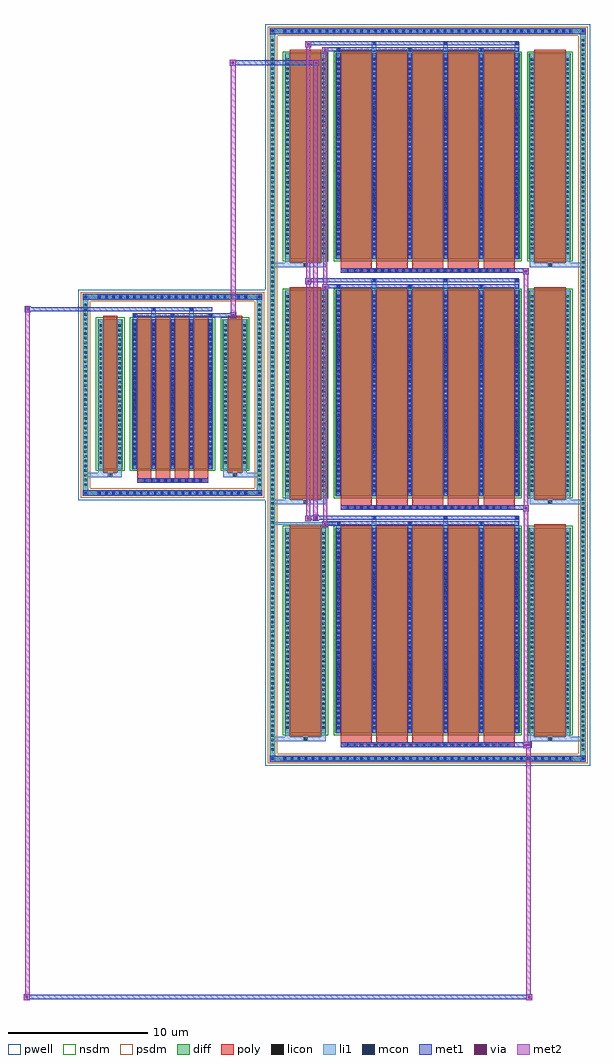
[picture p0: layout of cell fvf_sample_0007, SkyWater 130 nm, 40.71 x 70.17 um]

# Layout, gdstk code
import gdstk
lib = gdstk.Library(unit=1e-6, precision=1e-09)
def R(c, l, rs):  # rectangles x0, y0, x1, y1
    for r in rs: c.add(gdstk.rectangle(r[:2], r[2:], *l))
def A(c, l, x, y, w, h, nx, ny, dx, dy):  # array of equal rectangles
    R(c, l, [(x+i*dx, y+j*dy, x+i*dx+w, y+j*dy+h) for i in range(nx) for j in range(ny)])
def P(c, l, *ps):  # polygons
    for p in ps: c.add(gdstk.Polygon(p, *l))
pwell = (64, 44)
diff = (65, 20)
poly = (66, 20)
licon = (66, 44)
li1 = (67, 20)
mcon = (67, 44)
met1 = (68, 20)
via = (68, 44)
met2 = (69, 20)
nsdm = (93, 44)
psdm = (94, 20)

fvf_sample_0007 = lib.new_cell('fvf_sample_0007')
R(fvf_sample_0007, pwell, [(6.669,-26.668,30.021,26.668), (-6.769,-7.567,6.769,7.567)])
A(fvf_sample_0007, diff, 7.89, -26.358, 0.41, 0.41, 42, 2, 0.5, 52.306)
A(fvf_sample_0007, diff, 6.979, -25.705, 0.41, 0.41, 1, 151, 0, 0.34)
A(fvf_sample_0007, diff, 29.301, -25.705, 0.41, 0.41, 1, 151, 0, 0.34)
A(fvf_sample_0007, diff, 8.049, -24.337, 3.016, 14.8, 1, 3, 0, 17.045)
A(fvf_sample_0007, diff, 11.705, -24.337, 13.28, 14.8, 1, 3, 0, 17.045)
A(fvf_sample_0007, diff, 25.625, -24.337, 3.016, 14.8, 1, 3, 0, 17.045)
A(fvf_sample_0007, diff, -5.455, -7.257, 0.41, 0.41, 22, 2, 0.5, 14.104)
A(fvf_sample_0007, diff, -6.459, -6.665, 0.41, 0.41, 1, 39, 0, 0.34)
A(fvf_sample_0007, diff, 6.049, -6.665, 0.41, 0.41, 1, 39, 0, 0.34)
R(fvf_sample_0007, diff, [(7.89,-26.358,28.8,-25.948), (6.979,-25.705,7.389,25.705), (29.301,-25.705,29.711,25.705), (-5.455,-7.257,5.455,-6.847), (-6.459,-6.665,-6.049,6.665), (6.049,-6.665,6.459,6.665), (-5.389,-5.336,-3.581,5.452), (-2.941,-5.336,2.941,5.452), (3.581,-5.336,5.389,5.452), (-5.455,6.847,5.455,7.257), (7.89,25.948,28.8,26.358)])
P(fvf_sample_0007, diff, [(6.459,7.257),(-6.459,7.257),(-6.459,-6.847),(-6.049,-6.847),(-6.049,6.847),(6.049,6.847),(6.049,-6.847),(-6.049,-6.847),(-6.459,-6.847),(-6.459,-7.257),(6.459,-7.257)],
  [(29.711,26.358),(6.979,26.358),(6.979,-25.948),(7.389,-25.948),(7.389,25.948),(29.301,25.948),(29.301,-25.948),(7.389,-25.948),(6.979,-25.948),(6.979,-26.358),(29.711,-26.358)])
A(fvf_sample_0007, poly, 12.095, -25.317, 12.5, 0.33, 1, 3, 0, 17.045)
A(fvf_sample_0007, poly, 12.43, -25.317, 0.33, 0.33, 24, 3, 0.5, 17.045)
A(fvf_sample_0007, poly, 12.095, -24.987, 2.236, 0.4, 5, 3, 2.566, 17.045)
A(fvf_sample_0007, poly, 8.439, -24.587, 2.236, 15.3, 1, 3, 0, 17.045)
A(fvf_sample_0007, poly, 12.095, -24.587, 2.236, 15.3, 5, 3, 2.566, 17.045)
A(fvf_sample_0007, poly, 26.015, -24.587, 2.236, 15.3, 1, 3, 0, 17.045)
A(fvf_sample_0007, poly, -2.165, -6.318, 0.33, 0.33, 9, 1, 0.5, 0)
A(fvf_sample_0007, poly, -2.551, -5.988, 1.028, 0.402, 4, 1, 1.358, 0)
A(fvf_sample_0007, poly, -2.551, -5.586, 1.028, 11.288, 4, 1, 1.358, 0)
R(fvf_sample_0007, poly, [(9.392,-24.917,9.722,-24.587), (9.392,-24.917,9.722,-24.587), (26.968,-24.917,27.298,-24.587), (26.968,-24.917,27.298,-24.587), (9.392,-7.872,9.722,-7.542), (9.392,-7.872,9.722,-7.542), (26.968,-7.872,27.298,-7.542), (26.968,-7.872,27.298,-7.542), (-2.551,-6.318,2.551,-5.988), (-4.65,-5.916,-4.32,-5.586), (-4.65,-5.916,-4.32,-5.586), (4.32,-5.916,4.65,-5.586), (4.32,-5.916,4.65,-5.586), (-4.999,-5.586,-3.971,5.702), (3.971,-5.586,4.999,5.702), (9.392,9.173,9.722,9.503), (9.392,9.173,9.722,9.503), (26.968,9.173,27.298,9.503), (26.968,9.173,27.298,9.503)])
A(fvf_sample_0007, licon, 8.01, -26.238, 0.17, 0.17, 42, 2, 0.5, 52.306)
A(fvf_sample_0007, licon, 7.099, -25.585, 0.17, 0.17, 1, 151, 0, 0.34)
A(fvf_sample_0007, licon, 29.421, -25.585, 0.17, 0.17, 1, 151, 0, 0.34)
A(fvf_sample_0007, licon, 12.51, -25.237, 0.17, 0.17, 24, 3, 0.5, 17.045)
A(fvf_sample_0007, licon, 9.472, -24.837, 0.17, 0.17, 1, 3, 0, 17.045)
A(fvf_sample_0007, licon, 27.048, -24.837, 0.17, 0.17, 1, 3, 0, 17.045)
A(fvf_sample_0007, licon, 8.189, -23.992, 0.17, 0.17, 1, 42, 0, 0.34)
A(fvf_sample_0007, licon, 10.755, -23.992, 0.17, 0.17, 1, 42, 0, 0.34)
A(fvf_sample_0007, licon, 11.845, -23.992, 0.17, 0.17, 6, 42, 2.566, 0.34)
A(fvf_sample_0007, licon, 25.765, -23.992, 0.17, 0.17, 1, 42, 0, 0.34)
A(fvf_sample_0007, licon, 28.331, -23.992, 0.17, 0.17, 1, 42, 0, 0.34)
A(fvf_sample_0007, licon, -5.335, -7.137, 0.17, 0.17, 22, 2, 0.5, 14.104)
A(fvf_sample_0007, licon, 8.189, -6.947, 0.17, 0.17, 1, 42, 0, 0.34)
A(fvf_sample_0007, licon, 10.755, -6.947, 0.17, 0.17, 1, 42, 0, 0.34)
A(fvf_sample_0007, licon, 11.845, -6.947, 0.17, 0.17, 6, 42, 2.566, 0.34)
A(fvf_sample_0007, licon, 25.765, -6.947, 0.17, 0.17, 1, 42, 0, 0.34)
A(fvf_sample_0007, licon, 28.331, -6.947, 0.17, 0.17, 1, 42, 0, 0.34)
A(fvf_sample_0007, licon, -6.339, -6.545, 0.17, 0.17, 1, 39, 0, 0.34)
A(fvf_sample_0007, licon, 6.169, -6.545, 0.17, 0.17, 1, 39, 0, 0.34)
A(fvf_sample_0007, licon, -2.085, -6.238, 0.17, 0.17, 9, 1, 0.5, 0)
A(fvf_sample_0007, licon, -5.249, -4.957, 0.17, 0.17, 1, 30, 0, 0.34)
A(fvf_sample_0007, licon, -3.891, -4.957, 0.17, 0.17, 1, 30, 0, 0.34)
A(fvf_sample_0007, licon, -2.801, -4.957, 0.17, 0.17, 5, 30, 1.358, 0.34)
A(fvf_sample_0007, licon, 3.721, -4.957, 0.17, 0.17, 1, 30, 0, 0.34)
A(fvf_sample_0007, licon, 5.079, -4.957, 0.17, 0.17, 1, 30, 0, 0.34)
A(fvf_sample_0007, licon, 8.189, 10.098, 0.17, 0.17, 1, 42, 0, 0.34)
A(fvf_sample_0007, licon, 10.755, 10.098, 0.17, 0.17, 1, 42, 0, 0.34)
A(fvf_sample_0007, licon, 11.845, 10.098, 0.17, 0.17, 6, 42, 2.566, 0.34)
A(fvf_sample_0007, licon, 25.765, 10.098, 0.17, 0.17, 1, 42, 0, 0.34)
A(fvf_sample_0007, licon, 28.331, 10.098, 0.17, 0.17, 1, 42, 0, 0.34)
R(fvf_sample_0007, licon, [(-4.57,-5.836,-4.4,-5.666), (4.4,-5.836,4.57,-5.666)])
A(fvf_sample_0007, li1, 7.93, -26.318, 0.33, 0.33, 42, 2, 0.5, 52.306)
A(fvf_sample_0007, li1, 7.019, -25.665, 0.33, 0.33, 1, 151, 0, 0.34)
A(fvf_sample_0007, li1, 29.341, -25.665, 0.33, 0.33, 1, 151, 0, 0.34)
A(fvf_sample_0007, li1, 12.43, -25.317, 0.33, 0.33, 24, 3, 0.5, 17.045)
A(fvf_sample_0007, li1, 6.979, -24.917, 2.413, 0.33, 1, 3, 0, 17.045)
A(fvf_sample_0007, li1, 8.109, -24.917, 0.33, 0.58, 1, 3, 0, 17.045)
A(fvf_sample_0007, li1, 8.109, -24.917, 1.283, 0.33, 1, 3, 0, 17.045)
A(fvf_sample_0007, li1, 9.392, -24.917, 0.33, 0.33, 1, 3, 0, 17.045)
A(fvf_sample_0007, li1, 9.722, -24.917, 1.283, 0.33, 1, 3, 0, 17.045)
A(fvf_sample_0007, li1, 10.675, -24.917, 0.33, 0.58, 1, 3, 0, 17.045)
A(fvf_sample_0007, li1, 25.685, -24.917, 0.33, 0.58, 1, 3, 0, 17.045)
A(fvf_sample_0007, li1, 25.685, -24.917, 1.283, 0.33, 1, 3, 0, 17.045)
A(fvf_sample_0007, li1, 26.968, -24.917, 0.33, 0.33, 1, 3, 0, 17.045)
A(fvf_sample_0007, li1, 26.968, -24.917, 2.743, 0.33, 1, 3, 0, 17.045)
A(fvf_sample_0007, li1, 27.298, -24.917, 1.283, 0.33, 1, 3, 0, 17.045)
A(fvf_sample_0007, li1, 28.251, -24.917, 0.33, 0.58, 1, 3, 0, 17.045)
A(fvf_sample_0007, li1, 8.109, -24.337, 0.33, 14.8, 1, 3, 0, 17.045)
A(fvf_sample_0007, li1, 10.675, -24.337, 0.33, 14.8, 1, 3, 0, 17.045)
A(fvf_sample_0007, li1, 11.765, -24.337, 0.33, 14.8, 6, 3, 2.566, 17.045)
A(fvf_sample_0007, li1, 25.685, -24.337, 0.33, 14.8, 1, 3, 0, 17.045)
A(fvf_sample_0007, li1, 28.251, -24.337, 0.33, 14.8, 1, 3, 0, 17.045)
A(fvf_sample_0007, li1, 8.109, -24.072, 0.33, 0.33, 1, 42, 0, 0.34)
A(fvf_sample_0007, li1, 10.675, -24.072, 0.33, 0.33, 1, 42, 0, 0.34)
A(fvf_sample_0007, li1, 11.765, -24.072, 0.33, 0.33, 6, 42, 2.566, 0.34)
A(fvf_sample_0007, li1, 25.685, -24.072, 0.33, 0.33, 1, 42, 0, 0.34)
A(fvf_sample_0007, li1, 28.251, -24.072, 0.33, 0.33, 1, 42, 0, 0.34)
A(fvf_sample_0007, li1, 11.845, -24.042, 0.17, 0.17, 6, 40, 2.566, 0.36)
A(fvf_sample_0007, li1, 11.845, -24.042, 0.17, 14.21, 6, 3, 2.566, 17.045)
A(fvf_sample_0007, li1, 11.765, -9.537, 0.33, 0.375, 3, 3, 5.132, 17.045)
A(fvf_sample_0007, li1, 14.331, -9.537, 0.33, 0.805, 3, 3, 5.132, 17.045)
A(fvf_sample_0007, li1, 11.845, -9.332, 0.17, 0.17, 3, 3, 5.132, 17.045)
A(fvf_sample_0007, li1, 14.411, -8.902, 0.17, 0.17, 3, 3, 5.132, 17.045)
A(fvf_sample_0007, li1, -5.415, -7.217, 0.33, 0.33, 22, 2, 0.5, 14.104)
A(fvf_sample_0007, li1, 8.109, -7.027, 0.33, 0.33, 1, 42, 0, 0.34)
A(fvf_sample_0007, li1, 10.675, -7.027, 0.33, 0.33, 1, 42, 0, 0.34)
A(fvf_sample_0007, li1, 11.765, -7.027, 0.33, 0.33, 6, 42, 2.566, 0.34)
A(fvf_sample_0007, li1, 25.685, -7.027, 0.33, 0.33, 1, 42, 0, 0.34)
A(fvf_sample_0007, li1, 28.251, -7.027, 0.33, 0.33, 1, 42, 0, 0.34)
A(fvf_sample_0007, li1, 11.845, -6.997, 0.17, 0.17, 6, 40, 2.566, 0.36)
A(fvf_sample_0007, li1, -6.419, -6.625, 0.33, 0.33, 1, 39, 0, 0.34)
A(fvf_sample_0007, li1, 6.089, -6.625, 0.33, 0.33, 1, 39, 0, 0.34)
A(fvf_sample_0007, li1, -2.165, -6.318, 0.33, 0.33, 9, 1, 0.5, 0)
A(fvf_sample_0007, li1, -2.881, -5.336, 0.33, 10.788, 5, 1, 1.358, 0)
A(fvf_sample_0007, li1, -2.801, -5.067, 0.17, 0.17, 5, 29, 1.358, 0.36)
A(fvf_sample_0007, li1, -2.801, -5.067, 0.17, 10.25, 5, 1, 1.358, 0)
A(fvf_sample_0007, li1, -5.329, -5.037, 0.33, 0.33, 1, 30, 0, 0.34)
A(fvf_sample_0007, li1, -3.971, -5.037, 0.33, 0.33, 1, 30, 0, 0.34)
A(fvf_sample_0007, li1, -2.881, -5.037, 0.33, 0.33, 5, 30, 1.358, 0.34)
A(fvf_sample_0007, li1, 3.641, -5.037, 0.33, 0.33, 1, 30, 0, 0.34)
A(fvf_sample_0007, li1, 4.999, -5.037, 0.33, 0.33, 1, 30, 0, 0.34)
A(fvf_sample_0007, li1, -2.881, 5.452, 0.33, 0.375, 3, 1, 2.716, 0)
A(fvf_sample_0007, li1, -2.801, 5.657, 0.17, 0.17, 3, 1, 2.716, 0)
A(fvf_sample_0007, li1, 8.109, 10.018, 0.33, 0.33, 1, 42, 0, 0.34)
A(fvf_sample_0007, li1, 10.675, 10.018, 0.33, 0.33, 1, 42, 0, 0.34)
A(fvf_sample_0007, li1, 11.765, 10.018, 0.33, 0.33, 6, 42, 2.566, 0.34)
A(fvf_sample_0007, li1, 25.685, 10.018, 0.33, 0.33, 1, 42, 0, 0.34)
A(fvf_sample_0007, li1, 28.251, 10.018, 0.33, 0.33, 1, 42, 0, 0.34)
A(fvf_sample_0007, li1, 11.845, 10.048, 0.17, 0.17, 6, 40, 2.566, 0.36)
R(fvf_sample_0007, li1, [(6.979,-26.358,7.389,-25.948), (29.301,-26.358,29.711,-25.948), (7.93,-26.318,28.76,-25.988), (7.099,-26.238,7.269,-26.068), (7.099,-26.238,7.269,-26.068), (29.421,-26.238,29.591,-26.068), (29.421,-26.238,29.591,-26.068), (6.979,-25.948,7.389,25.948), (29.301,-25.948,29.711,25.948), (11.785,-9.392,12.075,-9.102), (6.979,-9.347,11.785,-9.147), (11.845,-9.332,12.015,-9.162), (-6.459,-7.257,-6.049,-6.847), (6.049,-7.257,6.459,-6.847), (-5.415,-7.217,5.415,-6.887), (-6.339,-7.137,-6.169,-6.967), (-6.339,-7.137,-6.169,-6.967), (6.169,-7.137,6.339,-6.967), (6.169,-7.137,6.339,-6.967), (-6.459,-6.847,-6.049,6.847), (6.049,-6.847,6.459,6.847), (-6.459,-5.916,-4.65,-5.586), (-5.329,-5.916,-4.65,-5.586), (-5.329,-5.916,-4.999,-5.336), (-4.65,-5.916,-4.32,-5.586), (-4.32,-5.916,-3.641,-5.586), (-3.971,-5.916,-3.641,-5.336), (3.641,-5.916,4.32,-5.586), (3.641,-5.916,3.971,-5.336), (4.32,-5.916,4.65,-5.586), (4.32,-5.916,6.459,-5.586), (4.65,-5.916,5.329,-5.586), (4.999,-5.916,5.329,-5.336), (-5.329,-5.336,-4.999,5.452), (-3.971,-5.336,-3.641,5.452), (3.641,-5.336,3.971,5.452), (4.999,-5.336,5.329,5.452), (-1.523,5.452,-1.193,6.257), (1.193,5.452,1.523,6.257), (-1.443,6.087,-1.273,6.257), (1.273,6.087,1.443,6.257), (-6.459,6.847,-6.049,7.257), (6.049,6.847,6.459,7.257), (-5.415,6.887,5.415,7.217), (-6.339,6.967,-6.169,7.137), (-6.339,6.967,-6.169,7.137), (6.169,6.967,6.339,7.137), (6.169,6.967,6.339,7.137), (6.979,25.948,7.389,26.358), (29.301,25.948,29.711,26.358), (7.93,25.988,28.76,26.318), (7.099,26.068,7.269,26.238), (7.099,26.068,7.269,26.238), (29.421,26.068,29.591,26.238), (29.421,26.068,29.591,26.238)])
A(fvf_sample_0007, mcon, 8.01, -26.238, 0.17, 0.17, 42, 2, 0.5, 52.306)
A(fvf_sample_0007, mcon, 12.51, -25.237, 0.17, 0.17, 24, 3, 0.5, 17.045)
A(fvf_sample_0007, mcon, 11.845, -24.042, 0.17, 0.17, 6, 40, 2.566, 0.36)
A(fvf_sample_0007, mcon, 11.845, -9.332, 0.17, 0.17, 3, 3, 5.132, 17.045)
A(fvf_sample_0007, mcon, 14.411, -8.902, 0.17, 0.17, 3, 3, 5.132, 17.045)
A(fvf_sample_0007, mcon, -5.335, -7.137, 0.17, 0.17, 22, 2, 0.5, 14.104)
A(fvf_sample_0007, mcon, 11.845, -6.997, 0.17, 0.17, 6, 40, 2.566, 0.36)
A(fvf_sample_0007, mcon, -2.085, -6.238, 0.17, 0.17, 9, 1, 0.5, 0)
A(fvf_sample_0007, mcon, -2.801, -5.067, 0.17, 0.17, 5, 29, 1.358, 0.36)
A(fvf_sample_0007, mcon, -2.801, 5.657, 0.17, 0.17, 3, 1, 2.716, 0)
A(fvf_sample_0007, mcon, 11.845, 10.048, 0.17, 0.17, 6, 40, 2.566, 0.36)
R(fvf_sample_0007, mcon, [(7.099,-26.238,7.269,-26.068), (29.421,-26.238,29.591,-26.068), (11.845,-9.332,12.015,-9.162), (-6.339,-7.137,-6.169,-6.967), (6.169,-7.137,6.339,-6.967), (-1.443,6.087,-1.273,6.257), (1.273,6.087,1.443,6.257), (-6.339,6.967,-6.169,7.137), (6.169,6.967,6.339,7.137), (7.099,26.068,7.269,26.238), (29.421,26.068,29.591,26.238)])
A(fvf_sample_0007, met1, 7.95, -26.298, 0.29, 0.29, 42, 2, 0.5, 52.306)
A(fvf_sample_0007, met1, 12.095, -25.317, 12.5, 0.33, 1, 3, 0, 17.045)
A(fvf_sample_0007, met1, 12.45, -25.297, 0.29, 0.29, 24, 3, 0.5, 17.045)
A(fvf_sample_0007, met1, 11.785, -24.337, 0.29, 14.8, 6, 3, 2.566, 17.045)
A(fvf_sample_0007, met1, 11.785, -24.102, 0.29, 0.29, 6, 40, 2.566, 0.36)
A(fvf_sample_0007, met1, 11.785, -9.392, 0.29, 0.29, 3, 3, 5.132, 17.045)
A(fvf_sample_0007, met1, 14.351, -8.962, 0.29, 0.29, 3, 3, 5.132, 17.045)
A(fvf_sample_0007, met1, -5.395, -7.197, 0.29, 0.29, 22, 2, 0.5, 14.104)
A(fvf_sample_0007, met1, 11.785, -7.057, 0.29, 0.29, 6, 40, 2.566, 0.36)
A(fvf_sample_0007, met1, -2.145, -6.298, 0.29, 0.29, 9, 1, 0.5, 0)
A(fvf_sample_0007, met1, -2.861, -5.336, 0.29, 10.788, 5, 1, 1.358, 0)
A(fvf_sample_0007, met1, -2.861, -5.127, 0.29, 0.29, 5, 29, 1.358, 0.36)
A(fvf_sample_0007, met1, -2.861, 5.597, 0.29, 0.29, 3, 1, 2.716, 0)
A(fvf_sample_0007, met1, 11.785, 9.988, 0.29, 0.29, 6, 40, 2.566, 0.36)
R(fvf_sample_0007, met1, [(-10.693,-43.506,-10.263,-43.076), (25.43,-43.506,25.86,-43.076), (-10.693,-43.456,25.86,-43.126), (-10.693,-43.126,-10.263,-43.076), (25.43,-43.126,25.86,-43.076), (6.979,-26.358,7.389,-25.948), (6.979,-26.358,7.389,-25.948), (7.389,-26.358,29.301,-25.948), (29.301,-26.358,29.711,-25.948), (29.301,-26.358,29.711,-25.948), (7.039,-26.298,7.329,-26.008), (29.361,-26.298,29.651,-26.008), (25.195,-25.417,25.625,-24.987), (25.38,-25.367,25.81,-24.937), (24.595,-25.317,25.38,-24.987), (24.595,-25.317,25.625,-24.987), (10.755,-9.532,11.185,-9.102), (10.755,-9.392,11.785,-9.102), (11.785,-9.392,12.075,-9.102), (11.785,-9.392,24.905,-9.102), (9.555,-9.102,9.985,-8.672), (10.07,-9.032,10.5,-8.602), (9.555,-8.962,11.785,-8.672), (10.5,-8.962,11.785,-8.672), (11.785,-8.962,24.905,-8.672), (25.195,-8.372,25.625,-7.942), (25.195,-8.372,25.625,-7.942), (24.595,-8.272,25.625,-7.942), (24.595,-8.272,25.625,-7.942), (-6.459,-7.257,-6.049,-6.847), (-6.459,-7.257,-6.049,-6.847), (-6.049,-7.257,6.049,-6.847), (6.049,-7.257,6.459,-6.847), (6.049,-7.257,6.459,-6.847), (-6.399,-7.197,-6.109,-6.907), (6.109,-7.197,6.399,-6.907), (-2.551,-6.318,2.551,-5.988), (4.146,5.527,4.576,5.957), (-2.861,5.597,2.861,5.887), (2.861,5.597,4.146,5.887), (-10.643,5.957,-10.213,6.387), (-10.213,6.027,-2.861,6.317), (-2.861,6.027,2.861,6.317), (-1.503,6.027,-1.213,6.317), (1.213,6.027,1.503,6.317), (-6.459,6.847,-6.049,7.257), (-6.459,6.847,-6.049,7.257), (-6.049,6.847,6.049,7.257), (6.049,6.847,6.459,7.257), (6.049,6.847,6.459,7.257), (-6.399,6.907,-6.109,7.197), (6.109,6.907,6.399,7.197), (10.755,7.513,11.185,7.943), (10.755,7.513,11.185,7.943), (10.755,7.653,11.785,7.943), (10.755,7.653,11.785,7.943), (11.785,7.653,24.905,7.943), (9.555,7.943,9.985,8.373), (9.555,7.943,9.985,8.373), (9.555,8.083,11.785,8.373), (9.555,8.083,11.785,8.373), (11.785,8.083,24.905,8.373), (25.195,8.673,25.625,9.103), (24.595,8.773,25.625,9.103), (4.096,23.666,4.526,24.096), (10.12,23.666,10.55,24.096), (4.096,23.716,10.55,24.046), (4.096,24.046,4.526,24.096), (10.12,24.046,10.55,24.096), (10.755,24.558,11.185,24.988), (10.755,24.698,11.785,24.988), (11.785,24.698,24.905,24.988), (9.555,24.988,9.985,25.418), (9.555,25.128,11.785,25.418), (11.785,25.128,24.905,25.418), (6.979,25.948,7.389,26.358), (6.979,25.948,7.389,26.358), (7.389,25.948,29.301,26.358), (29.301,25.948,29.711,26.358), (29.301,25.948,29.711,26.358), (7.039,26.008,7.329,26.298), (29.361,26.008,29.651,26.298)])
R(fvf_sample_0007, via, [(-10.553,-43.366,-10.403,-43.216), (25.57,-43.366,25.72,-43.216), (25.335,-25.277,25.485,-25.127), (25.52,-25.227,25.67,-25.077), (10.895,-9.392,11.045,-9.242), (9.695,-8.962,9.845,-8.812), (10.21,-8.892,10.36,-8.742), (25.335,-8.232,25.485,-8.082), (25.335,-8.232,25.485,-8.082), (4.286,5.667,4.436,5.817), (-10.503,6.097,-10.353,6.247), (10.895,7.653,11.045,7.803), (10.895,7.653,11.045,7.803), (9.695,8.083,9.845,8.233), (9.695,8.083,9.845,8.233), (25.335,8.813,25.485,8.963), (4.236,23.806,4.386,23.956), (10.26,23.806,10.41,23.956), (10.895,24.698,11.045,24.848), (9.695,25.128,9.845,25.278)])
R(fvf_sample_0007, met2, [(-10.693,-43.506,-10.263,-43.076), (-10.593,-43.506,-10.263,6.007), (25.43,-43.506,25.86,-43.076), (25.43,-43.506,25.76,-25.317), (-10.643,-43.456,-10.313,-43.126), (25.48,-43.456,25.81,-43.126), (25.195,-25.417,25.625,-24.987), (25.245,-25.417,25.575,-7.942), (25.575,-25.417,25.625,-24.987), (25.245,-25.367,25.575,-25.037), (25.43,-25.317,25.76,-24.987), (10.755,-9.532,11.185,-9.102), (10.825,-9.532,11.115,7.943), (11.115,-9.532,11.185,-9.102), (10.805,-9.482,11.135,-9.152), (9.555,-9.102,9.985,-8.672), (9.625,-9.102,9.915,8.373), (9.915,-9.102,9.985,-8.672), (9.605,-9.052,9.935,-8.722), (10.12,-8.982,10.45,-8.652), (10.12,-8.652,10.45,24.096), (25.195,-8.372,25.625,-7.942), (25.195,-8.372,25.625,-7.942), (25.245,-8.372,25.575,9.103), (25.575,-8.372,25.625,-7.942), (25.575,-8.372,25.625,-7.942), (25.245,-8.322,25.575,-7.992), (25.245,-8.322,25.575,-7.992), (4.196,5.577,4.526,5.907), (4.196,5.907,4.526,24.096), (-10.593,6.007,-10.263,6.337), (10.755,7.513,11.185,7.943), (10.755,7.513,11.185,7.943), (10.825,7.513,11.115,24.988), (11.115,7.513,11.185,7.943), (11.115,7.513,11.185,7.943), (10.805,7.563,11.135,7.893), (10.805,7.563,11.135,7.893), (9.555,7.943,9.985,8.373), (9.555,7.943,9.985,8.373), (9.625,7.943,9.915,25.418), (9.915,7.943,9.985,8.373), (9.915,7.943,9.985,8.373), (9.605,7.993,9.935,8.323), (9.605,7.993,9.935,8.323), (25.195,8.673,25.625,9.103), (25.575,8.673,25.625,9.103), (25.245,8.723,25.575,9.053), (4.096,23.666,4.526,24.096), (10.12,23.666,10.55,24.096), (4.146,23.716,4.476,24.046), (10.17,23.716,10.5,24.046), (10.755,24.558,11.185,24.988), (11.115,24.558,11.185,24.988), (10.805,24.608,11.135,24.938), (9.555,24.988,9.985,25.418), (9.915,24.988,9.985,25.418), (9.605,25.038,9.935,25.368)])
A(fvf_sample_0007, nsdm, 7.919, -24.467, 3.276, 15.06, 1, 3, 0, 17.045)
A(fvf_sample_0007, nsdm, 11.575, -24.467, 13.54, 15.06, 1, 3, 0, 17.045)
A(fvf_sample_0007, nsdm, 25.495, -24.467, 3.276, 15.06, 1, 3, 0, 17.045)
R(fvf_sample_0007, nsdm, [(-5.519,-5.466,-3.451,5.582), (-3.071,-5.466,3.071,5.582), (3.451,-5.466,5.519,5.582)])
P(fvf_sample_0007, psdm, [(6.589,7.387),(-6.589,7.387),(-6.589,-6.717),(-5.919,-6.717),(-5.919,6.717),(5.919,6.717),(5.919,-6.717),(-5.919,-6.717),(-6.589,-6.717),(-6.589,-7.387),(6.589,-7.387)],
  [(29.841,26.488),(6.849,26.488),(6.849,-25.818),(7.519,-25.818),(7.519,25.818),(29.171,25.818),(29.171,-25.818),(7.519,-25.818),(6.849,-25.818),(6.849,-26.488),(29.841,-26.488)])

lib.write_gds('fvf_sample_0007.gds')
